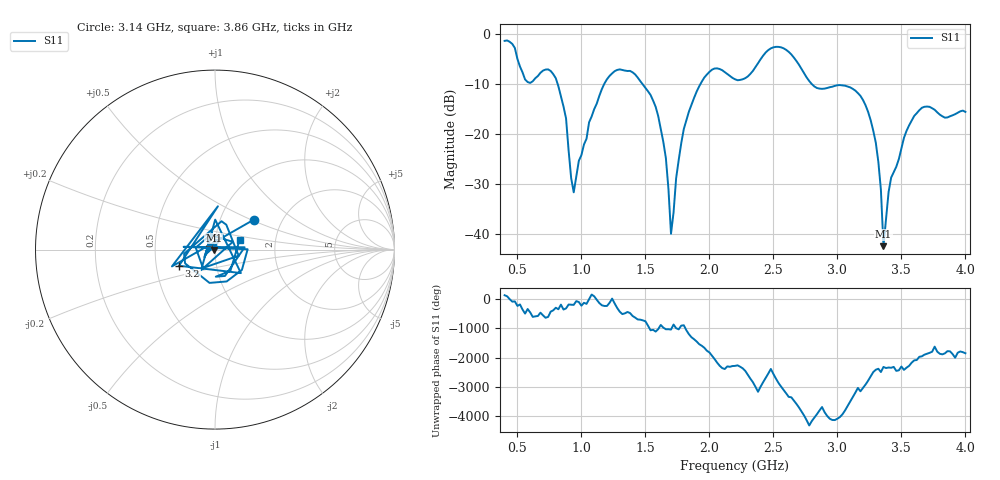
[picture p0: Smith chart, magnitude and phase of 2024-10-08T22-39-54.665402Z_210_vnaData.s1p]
! Created with skrf (http://scikit-rf.org).
# Hz S RI R 50.0
!freq ReS11 ImS11
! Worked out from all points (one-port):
!   181 points, 400 MHz to 4 GHz, reference 50 ohm
!   lowest |S11| = -42.4 dB at 3.36 GHz (marker M1), VSWR 1.02, Z = 49.3 - j0.262 ohm
!   |S11| at or under -10 dB: 815 MHz to 1.177 GHz (362.5 MHz wide, 36.4 % of centre); 1.479 GHz to 1.929 GHz (450.9 MHz wide, 26.5 % of centre); 2.801 GHz to end of sweep
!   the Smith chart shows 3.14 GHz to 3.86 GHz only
!   S11 on the Smith chart (normalised r, x): 3.14 GHz: 1.44, +0.52; 3.2 GHz: 0.66, -0.12; 3.86 GHz: 1.31, +0.14
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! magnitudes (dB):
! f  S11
! 400 MHz  -1.3
! 580 MHz  -9.6
! 760 MHz  -7.3
! 860 MHz  -14.5
! 940 MHz  -31.6
! 1.06 GHz  -17.6
! 1.3 GHz  -7.0
! 1.58 GHz  -14.5
! 1.66 GHz  -24.8
! 1.7 GHz  -39.9
! 1.76 GHz  -25.2
! 1.84 GHz  -15.5
! 1.96 GHz  -8.7
! 2.2 GHz  -9.0
! 2.5 GHz  -2.6
! 2.66 GHz  -4.7
! 2.84 GHz  -10.8
! 3.1 GHz  -10.6
! 3.14 GHz  -11.3
! 3.2 GHz  -13.2
! 3.3 GHz  -21.7
! 3.34 GHz  -31.2
! 3.36 GHz  -42.4
! 3.42 GHz  -28.7
! 3.56 GHz  -18.2
! 3.68 GHz  -14.5
! 3.86 GHz  -16.6
! 4 GHz  -15.5
